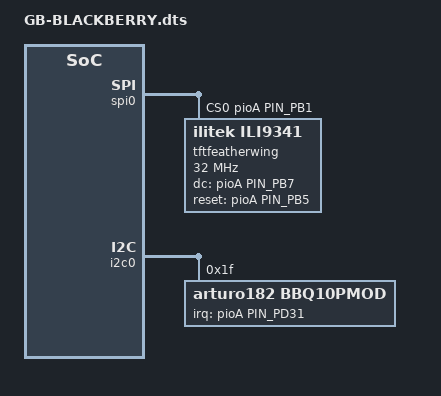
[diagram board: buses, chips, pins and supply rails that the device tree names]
/dts-v1/;
/plugin/;

#include "sama5d2-pinfunc.h"

/ {
	compatible = "Giant Board";

	fragment@0 {
		target = <&pioA>;
		__overlay__ {
			tftfeatherwing_pins: tftfeatherwing_pins {
				pinmux = <PIN_PB7__GPIO>,
						 <PIN_PB5__GPIO>;
				bias-disable;
			};
		};
	};

	fragment@1 {
		target = <&spi0>;
		__overlay__ {
			#address-cells = <1>;
			#size-cells = <0>;
			cs-gpios = <&pioA PIN_PB1 0>;
			status = "okay";
			tftfeatherwing: tftfeatherwing@0{
				compatible = "ilitek,ili9341";
				reg = <0>;
				pinctrl-names = "default";
				pinctrl-0 = <&tftfeatherwing_pins>;
				
				spi-max-frequency = <32000000>;
				rotate = <270>;
				fps = <40>;
				bgr;
				buswidth = <8>;
				dc-gpios = <&pioA PIN_PB7 0>;
				reset-gpios = <&pioA PIN_PB5 0>;
				debug = <0>;
			};
		};
	};
	
	fragment@2 {
		target = <&i2c0>;
		
		__overlay__ {
			#address-cells = <1>;
			#size-cells = <0>;
			status = "okay";
			
			bbq10pmod@1f {
				compatible = "arturo182,bbq10pmod";
				
				reg = <0x1f>;
				interrupt-parent = <&pioA>;		
				irq-gpio = <&pioA PIN_PD31 0x2>;
				interrupts = <PIN_PD31 2>;
				interrupt-controller;
			};
		};
	};
};
